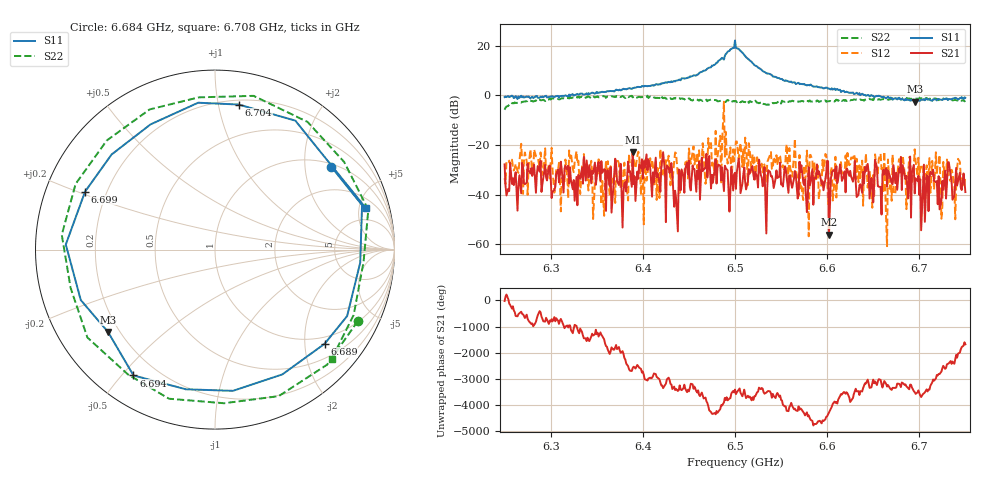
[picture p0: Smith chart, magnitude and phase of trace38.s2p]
# Hz S RI R 50
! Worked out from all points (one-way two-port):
!   401 points, 6.25 GHz to 6.75 GHz, reference 50 ohm
!   highest |S21| = -22.79 dB at 6.389 GHz (marker M1); lowest = -56.1 dB at 6.602 GHz (marker M2)
!   lowest |S11| = -2.5 dB at 6.695 GHz (marker M3), VSWR 7.07, Z = 7.87 - j16.7 ohm
!   |S11| at or under -10 dB: nowhere
!   |S22| runs from -5.8 to -0.1 dB; largest |S21 - S12| = 0.73
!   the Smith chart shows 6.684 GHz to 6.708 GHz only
!   S11 on the Smith chart (normalised r, x): 6.684 GHz: 1.09, +2.73; 6.689 GHz: 0.82, -2.46; 6.694 GHz: 0.12, -0.54; 6.699 GHz: 0.12, +0.21; 6.704 GHz: 0.23, +1.15; 6.708 GHz: 3.03, +5.85
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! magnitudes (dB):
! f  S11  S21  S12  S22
! 6.25 GHz  -0.6  -27.8  -33.4  -5.8
! 6.334 GHz  0.8  -29.3  -28.6  -0.5
! 6.356 GHz  1.5  -31.2  -34.5  -0.4
! 6.38 GHz  2.5  -35.4  -27.1  -0.8
! 6.389 GHz  2.9  -22.8  -23.0  -0.8
! 6.418 GHz  4.5  -34.7  -41.3  -1.1
! 6.435 GHz  5.6  -38.4  -23.0  -1.2
! 6.5 GHz  22.2  -31.2  -22.9  -2.2
! 6.584 GHz  3.8  -29.6  -26.2  -2.4
! 6.602 GHz  2.8  -56.1  -39.6  -2.3
! 6.628 GHz  1.2  -34.7  -25.3  -1.8
! 6.649 GHz  -0.1  -36.7  -45.2  -1.5
! 6.655 GHz  -0.3  -36.5  -31.4  -1.7
! 6.668 GHz  -1.2  -32.4  -37.6  -1.6
! 6.684 GHz  -2.0  -32.0  -30.9  -1.0
! 6.689 GHz  -1.9  -31.1  -24.9  -1.2
! 6.694 GHz  -1.6  -28.0  -28.7  -1.3
! 6.695 GHz  -2.5  -39.5  -21.7  -1.3
! 6.699 GHz  -2.0  -32.4  -25.1  -1.4
! 6.704 GHz  -1.7  -37.0  -29.9  -1.1
! 6.708 GHz  -1.2  -32.1  -28.2  -1.0
! 6.75 GHz  -1.0  -38.9  -32.6  -2.2
